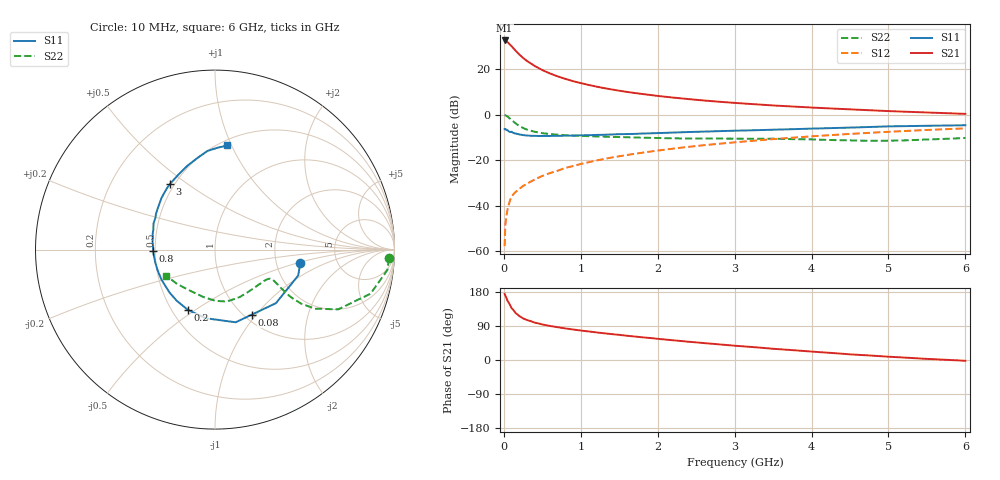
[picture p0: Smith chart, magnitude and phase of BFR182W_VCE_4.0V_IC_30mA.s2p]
! Infineon Technologies  Discrete & RF Semiconductors
! BFR182W
! VCE =  4.0 V,  IC =  30 mA
! Common Emitter S-Parameters:  Jan 2017
# GHz  S  MA  R  50
!  f  S11  S21  S12  S22
! GHz  MAG  ANG  MAG  ANG  MAG  ANG  MAG  ANG
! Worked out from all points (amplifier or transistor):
!   77 points, 10 MHz to 6 GHz, reference 50 ohm
!   highest |S21| = 32.5 dB at 10 MHz (marker M1)
!   |S21| within 3 dB of that: start of sweep to 113.7 MHz
!   unconditionally stable (mu >= 1): 619.2 MHz to 2.223 GHz
!   at 130 MHz: K = 0.50, MSG = 31.8 dB, |S12| = -34.8 dB
!   at 2.2 GHz: K = 1.00, MAG = 10.9 dB, |S12| = -14.9 dB
!   at 6 GHz: K = 0.86, MSG = 3.2 dB, |S12| = -6.0 dB
!   S11 on the Smith chart (normalised r, x): 10 MHz: 2.74, -0.52; 80 MHz: 1.08, -0.95; 200 MHz: 0.60, -0.47; 800 MHz: 0.49, -0.01; 3 GHz: 0.47, +0.43; 6 GHz: 0.55, +0.96
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0.01  0.4814 -8.7  42.27 174.5  0.0013 91.0  0.9703 -2.9
0.02  0.4856 -17.3  42.17 169.8  0.0039 94.2  0.9674 -6.7
0.05  0.4521 -41.3  38.84 155.5  0.0086 77.8  0.9012 -15.8
0.08  0.4163 -60.5  34.16 145.4  0.013 71.6  0.8149 -21.5
0.1  0.421 -74.1  31.77 137.1  0.016 69.4  0.7626 -25.9
0.15  0.386 -97.6  25.5 124.7  0.0199 64.4  0.6469 -30.6
0.2  0.3683 -114.2  20.87 116.2  0.0233 66.5  0.5655 -32.1
0.25  0.3558 -127.0  17.53 109.9  0.0272 64.4  0.5089 -32.1
0.3  0.3484 -136.7  14.99 105.5  0.0303 66.0  0.4685 -31.6
0.4  0.3421 -150.1  11.65 98.7  0.0376 68.2  0.4201 -30.0
0.5  0.3399 -159.8  9.459 93.8  0.0451 69.2  0.3919 -28.8
0.6  0.3404 -167.3  7.982 89.8  0.0522 70.2  0.3744 -28.0
0.7  0.3418 -173.3  6.886 86.5  0.0587 71.9  0.3625 -27.6
0.8  0.3453 -178.6  6.067 83.3  0.0677 72.4  0.3542 -27.7
1.1  0.353 169.0  4.477 75.4  0.0899 72.7  0.337 -29.3
1.5  0.3721 156.9  3.339 66.3  0.1219 71.4  0.3213 -34.1
2.1  0.3979 142.0  2.464 54.0  0.1708 68.1  0.304 -45.3
3  0.4434 124.5  1.805 37.7  0.2462 61.6  0.2969 -66.3
3.1  0.447 122.7  1.759 36.2  0.2547 60.7  0.2959 -68.5
4.1  0.4976 106.5  1.402 20.8  0.3419 51.6  0.2819 -91.6
5.1  0.5545 93.1  1.176 7.6  0.4272 41.5  0.2691 -124.2
6  0.5842 83.2  1.037 -2.1  0.4984 31.9  0.3074 -151.6
